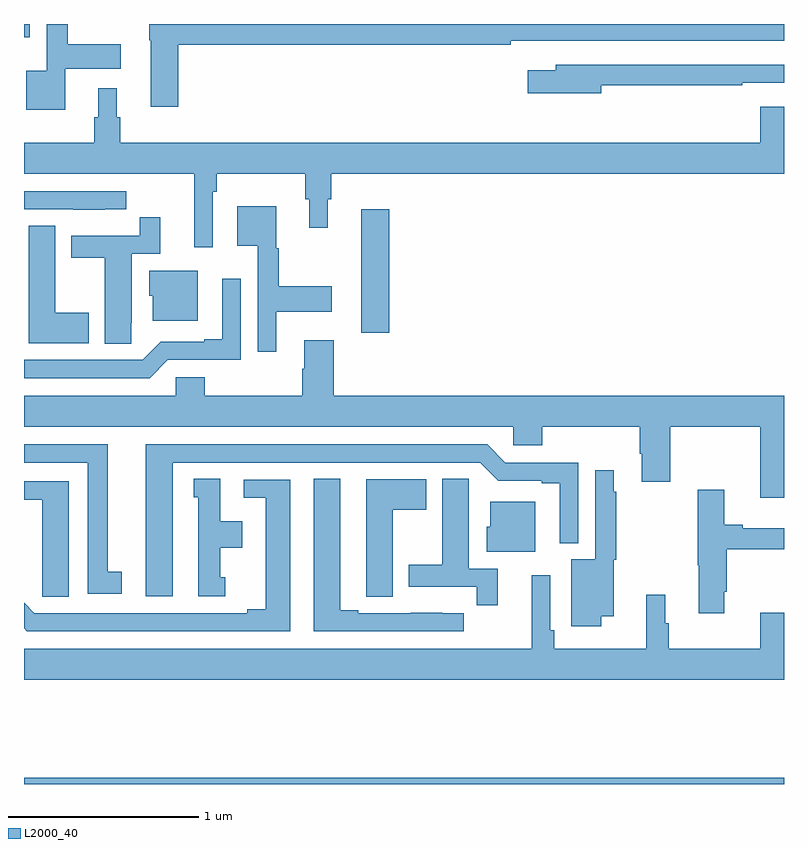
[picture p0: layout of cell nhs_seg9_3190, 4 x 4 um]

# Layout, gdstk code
import gdstk
lib = gdstk.Library(unit=1e-6, precision=1e-09)
def R(c, l, rs):  # rectangles x0, y0, x1, y1
    for r in rs: c.add(gdstk.rectangle(r[:2], r[2:], *l))
def P(c, l, *ps):  # polygons
    for p in ps: c.add(gdstk.Polygon(p, *l))
L2000_40 = (2000, 40)

nhs_seg9_3190 = lib.new_cell('nhs_seg9_3190')
R(nhs_seg9_3190, L2000_40, [(293,1234.5,297,1234.532), (294.776,1236.876,294.923,1237.525), (293,1238.43,293.031,1238.5)])
P(nhs_seg9_3190, L2000_40, [(293.218,1238.264),(293.509,1238.264),(293.509,1238.394),(293.23,1238.394),(293.23,1238.5),(293.121,1238.5),(293.121,1238.254),(293.012,1238.254),(293.012,1238.048),(293.218,1238.048)],
  [(293.813,1238.392),(295.562,1238.392),(295.562,1238.412),(297,1238.412),(297,1238.5),(293.659,1238.5),(293.659,1238.415),(293.666,1238.415),(293.666,1238.064),(293.813,1238.064)],
  [(296.038,1238.178),(296.78,1238.178),(296.78,1238.19),(297,1238.19),(297,1238.286),(295.799,1238.286),(295.799,1238.257),(295.65,1238.257),(295.65,1238.135),(296.038,1238.135)],
  [(293.994,1237.616),(294.014,1237.616),(294.014,1237.712),(294.481,1237.712),(294.481,1237.578),(294.5,1237.578),(294.5,1237.428),(294.598,1237.428),(294.598,1237.578),(294.617,1237.578),(294.617,1237.712),(297,1237.712),(297,1238.065),(296.876,1238.065),(296.876,1237.876),(293.507,1237.876),(293.507,1238.01),(293.488,1238.01),(293.488,1238.161),(293.39,1238.161),(293.39,1238.01),(293.371,1238.01),(293.371,1237.876),(293,1237.876),(293,1237.712),(293.897,1237.712),(293.897,1237.326),(293.994,1237.326)],
  [(293.426,1237.524),(293.539,1237.524),(293.539,1237.62),(293,1237.62),(293,1237.524),(293.26,1237.524),(293.26,1237.523),(293.426,1237.523)],
  [(294.328,1236.986),(294.619,1236.986),(294.619,1237.121),(294.34,1237.121),(294.34,1237.32),(294.328,1237.32),(294.328,1237.54),(294.122,1237.54),(294.122,1237.334),(294.231,1237.334),(294.231,1236.774),(294.328,1236.774)],
  [(293.565,1236.928),(293.566,1236.928),(293.566,1237.29),(293.717,1237.29),(293.717,1237.483),(293.608,1237.483),(293.608,1237.386),(293.249,1237.386),(293.249,1237.27),(293.426,1237.27),(293.426,1236.817),(293.565,1236.817)],
  [(293.341,1236.981),(293.164,1236.981),(293.164,1237.439),(293.025,1237.439),(293.025,1237.331),(293.024,1237.331),(293.024,1236.821),(293.341,1236.821)],
  [(293.914,1237.201),(293.66,1237.201),(293.66,1237.071),(293.678,1237.071),(293.678,1236.938),(293.914,1236.938)],
  [(293.757,1236.732),(294.141,1236.732),(294.141,1237.159),(294.044,1237.159),(294.044,1236.841),(293.948,1236.841),(293.948,1236.828),(293.721,1236.828),(293.625,1236.732),(293,1236.732),(293,1236.636),(293.661,1236.636)],
  [(297,1236.544),(294.629,1236.544),(294.629,1236.835),(294.476,1236.835),(294.476,1236.686),(294.464,1236.686),(294.464,1236.544),(293.951,1236.544),(293.951,1236.642),(293.799,1236.642),(293.799,1236.544),(293,1236.544),(293,1236.38),(295.575,1236.38),(295.575,1236.282),(295.727,1236.282),(295.727,1236.38),(296.24,1236.38),(296.24,1236.238),(296.252,1236.238),(296.252,1236.09),(296.4,1236.09),(296.4,1236.38),(296.876,1236.38),(296.876,1236.006),(297,1236.006)],
  [(293.515,1235.618),(293.44,1235.618),(293.44,1236.288),(293,1236.288),(293,1236.192),(293.336,1236.192),(293.336,1235.502),(293.515,1235.502)],
  [(293.782,1236.192),(295.401,1236.192),(295.497,1236.096),(295.724,1236.096),(295.724,1236.084),(295.82,1236.084),(295.82,1235.768),(295.917,1235.768),(295.917,1236.192),(295.533,1236.192),(295.437,1236.288),(293.642,1236.288),(293.642,1235.487),(293.782,1235.487)],
  [(296.038,1235.384),(296.104,1235.384),(296.104,1235.679),(296.116,1235.679),(296.116,1236.038),(296.104,1236.038),(296.104,1236.151),(296.007,1236.151),(296.007,1235.683),(295.88,1235.683),(295.88,1235.331),(296.038,1235.331)],
  [(294.058,1235.589),(294.034,1235.589),(294.034,1235.744),(294.148,1235.744),(294.148,1235.884),(294.034,1235.884),(294.034,1236.107),(293.894,1236.107),(293.894,1236.009),(293.918,1236.009),(293.918,1235.487),(294.058,1235.487)],
  [(295.493,1235.634),(295.342,1235.634),(295.342,1235.996),(295.341,1235.996),(295.341,1236.107),(295.202,1236.107),(295.202,1235.655),(295.025,1235.655),(295.025,1235.538),(295.384,1235.538),(295.384,1235.442),(295.493,1235.442)],
  [(295.315,1235.4),(295.202,1235.4),(295.202,1235.401),(295.036,1235.401),(295.036,1235.4),(294.76,1235.4),(294.76,1235.415),(294.664,1235.415),(294.664,1236.107),(294.524,1236.107),(294.524,1235.304),(295.315,1235.304)],
  [(294.94,1235.944),(295.117,1235.944),(295.117,1236.103),(294.8,1236.103),(294.8,1235.593),(294.801,1235.593),(294.801,1235.485),(294.94,1235.485)],
  [(294.4,1236.102),(294.156,1236.102),(294.156,1236.006),(294.272,1236.006),(294.272,1235.42),(294.176,1235.42),(294.176,1235.4),(293.055,1235.4),(293,1235.455),(293,1235.319),(293.015,1235.304),(294.4,1235.304)],
  [(293.236,1236.093),(293,1236.093),(293,1235.996),(293.096,1235.996),(293.096,1235.593),(293.097,1235.593),(293.097,1235.485),(293.236,1235.485)],
  [(296.686,1235.512),(296.699,1235.512),(296.699,1235.736),(297,1235.736),(297,1235.845),(296.782,1235.845),(296.782,1235.864),(296.686,1235.864),(296.686,1236.049),(296.545,1236.049),(296.545,1235.651),(296.552,1235.651),(296.552,1235.4),(296.686,1235.4)],
  [(295.69,1235.986),(295.454,1235.986),(295.454,1235.853),(295.436,1235.853),(295.436,1235.723),(295.69,1235.723)],
  [(297,1235.401),(296.876,1235.401),(296.876,1235.212),(296.393,1235.212),(296.393,1235.346),(296.374,1235.346),(296.374,1235.497),(296.275,1235.497),(296.275,1235.212),(295.79,1235.212),(295.79,1235.308),(295.77,1235.308),(295.77,1235.599),(295.673,1235.599),(295.673,1235.212),(293,1235.212),(293,1235.048),(297,1235.048)])

lib.write_gds('nhs_seg9_3190.gds')
